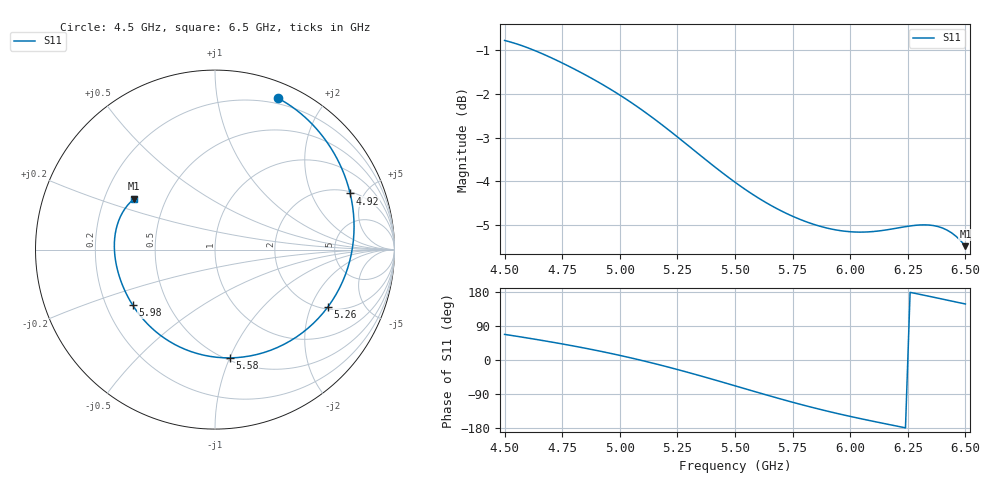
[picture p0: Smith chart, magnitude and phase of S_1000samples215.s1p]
! TOUCHSTONE file generated by CST MICROWAVE STUDIO
! Date and time: Thu Oct 27 09:55:44 2022
! Project name: L.cst
! Parameters = {Di=1.27; Epsilon_r=1.56; InnerDiameter=1.27; Length=2; Lf=10; Lg=60; OuterConductorThickness=0.2921; OuterDiameter=3.6; Wf=3; Wp=41.2; de=1.5; df=6.8; g=0.8; gx=1.23548; gy=0.839991; h=2.34; hf=1.524; px=8.66954; py=9.69313; w=9.7; wx=7.43406; wy=8.85314}
! Header version: 2018
! Port assignment regex: !\s*Touchstone port\s*([0-9]+)\s*=\s*(CST MWS port|CST DS port)\s*([0-9]+|Zmin|Zmax)\s*\(\"(.*)\"\)(\s*mode\s*([0-9]+))?.*
! Touchstone port assignment:
! Touchstone port 1 = CST MWS port 1 ("")
# GHz S DB R 50
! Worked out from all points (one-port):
!   101 points, 4.5 GHz to 6.5 GHz, reference 50 ohm
!   lowest |S11| = -5.5 dB at 6.5 GHz (marker M1), VSWR 3.27, Z = 16.4 + j13 ohm
!   |S11| at or under -10 dB: nowhere
!   S11 on the Smith chart (normalised r, x): 4.5 GHz: 0.14, +1.48; 4.92 GHz: 2.11, +3.94; 5.26 GHz: 2.11, -2.67; 5.58 GHz: 0.52, -1.00; 5.98 GHz: 0.31, -0.28; 6.5 GHz: 0.33, +0.26
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4.5  -0.78 67.6
4.62  -0.99 56.0
4.68  -1.12 49.9
4.76  -1.32 41.3
4.84  -1.54 32.2
4.92  -1.77 22.6
5  -2.03 12.2
5.08  -2.31 1.0
5.14  -2.54 -7.8
5.2  -2.78 -17.1
5.26  -3.03 -26.7
5.32  -3.28 -36.7
5.38  -3.54 -47.0
5.44  -3.78 -57.5
5.5  -4.02 -68.1
5.58  -4.31 -82.3
5.66  -4.56 -96.3
5.76  -4.82 -113.1
5.86  -5.01 -128.9
5.92  -5.09 -137.7
5.98  -5.14 -146.1
6  -5.15 -148.8
6.14  -5.12 -166.7
6.26  -5.02 178.5
6.32  -4.99 171.0
6.38  -5.03 163.3
6.44  -5.18 155.5
6.5  -5.48 147.8
